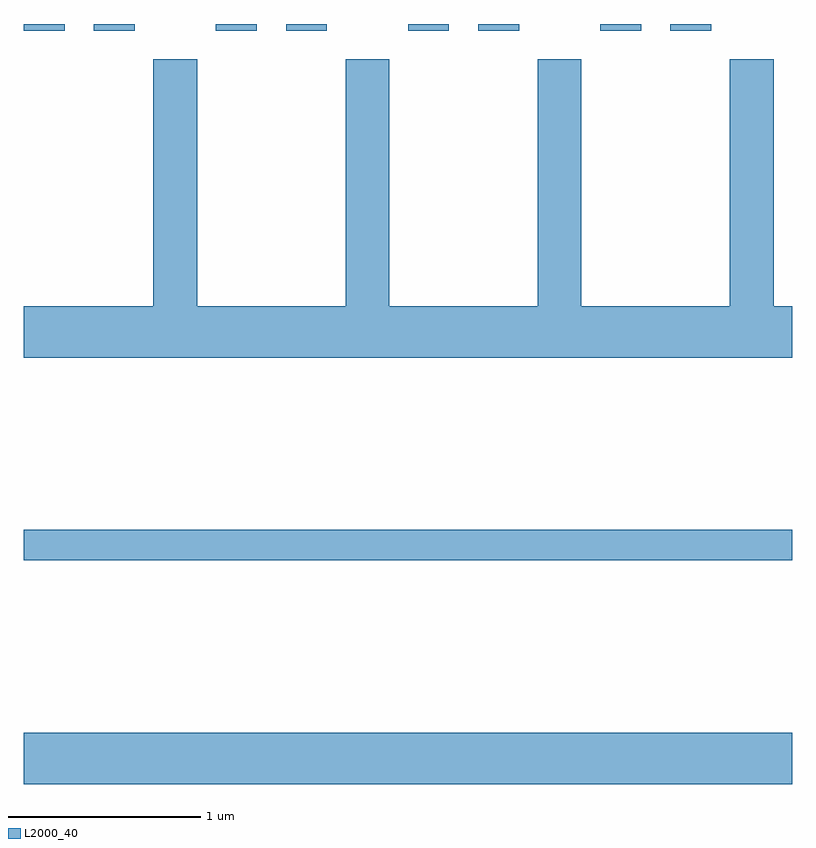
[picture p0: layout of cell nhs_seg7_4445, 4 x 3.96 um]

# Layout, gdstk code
import gdstk
lib = gdstk.Library(unit=1e-6, precision=1e-09)
def R(c, l, rs):  # rectangles x0, y0, x1, y1
    for r in rs: c.add(gdstk.rectangle(r[:2], r[2:], *l))
def P(c, l, *ps):  # polygons
    for p in ps: c.add(gdstk.Polygon(p, *l))
L2000_40 = (2000, 40)

nhs_seg7_4445 = lib.new_cell('nhs_seg7_4445')
R(nhs_seg7_4445, L2000_40, [(321.611,1734.296,325.611,1734.564), (321.611,1735.461,325.611,1735.619), (321.611,1738.216,321.824,1738.252), (321.976,1738.216,322.189,1738.252), (322.611,1738.216,322.824,1738.252), (322.976,1738.216,323.189,1738.252), (323.611,1738.216,323.824,1738.252), (323.976,1738.216,324.189,1738.252), (324.611,1738.216,324.824,1738.252), (324.976,1738.216,325.189,1738.252)])
P(nhs_seg7_4445, L2000_40, [(325.611,1736.784),(325.514,1736.784),(325.514,1738.069),(325.286,1738.069),(325.286,1736.784),(324.514,1736.784),(324.514,1738.069),(324.286,1738.069),(324.286,1736.784),(323.514,1736.784),(323.514,1738.069),(323.286,1738.069),(323.286,1736.784),(322.514,1736.784),(322.514,1738.069),(322.286,1738.069),(322.286,1736.784),(321.611,1736.784),(321.611,1736.516),(325.611,1736.516)])

lib.write_gds('nhs_seg7_4445.gds')
